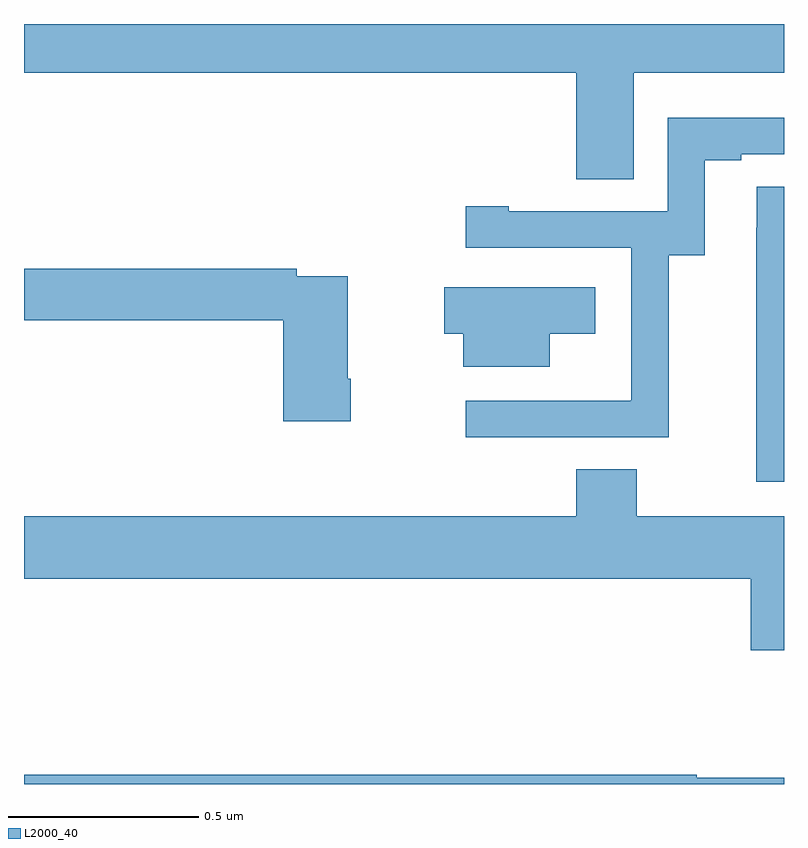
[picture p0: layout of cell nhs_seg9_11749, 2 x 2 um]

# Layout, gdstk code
import gdstk
lib = gdstk.Library(unit=1e-6, precision=1e-09)
def P(c, l, *ps):  # polygons
    for p in ps: c.add(gdstk.Polygon(p, *l))
L2000_40 = (2000, 40)

nhs_seg9_11749 = lib.new_cell('nhs_seg9_11749')
P(nhs_seg9_11749, L2000_40, [(260.605,1244.372),(261,1244.372),(261,1244.5),(259,1244.5),(259,1244.372),(260.453,1244.372),(260.453,1244.092),(260.605,1244.092)],
  [(260.697,1243.891),(260.791,1243.891),(260.791,1244.142),(260.887,1244.142),(260.887,1244.157),(261,1244.157),(261,1244.253),(260.694,1244.253),(260.694,1244.007),(260.275,1244.007),(260.275,1244.02),(260.163,1244.02),(260.163,1243.911),(260.598,1243.911),(260.598,1243.51),(260.597,1243.51),(260.597,1243.509),(260.163,1243.509),(260.163,1243.413),(260.697,1243.413)],
  [(261,1244.072),(260.928,1244.072),(260.928,1243.964),(260.927,1243.964),(260.927,1243.296),(261,1243.296)],
  [(259.86,1243.567),(259.852,1243.567),(259.852,1243.836),(259.718,1243.836),(259.718,1243.856),(259,1243.856),(259,1243.72),(259.682,1243.72),(259.682,1243.455),(259.86,1243.455)],
  [(260.383,1243.685),(260.503,1243.685),(260.503,1243.807),(260.106,1243.807),(260.106,1243.685),(260.156,1243.685),(260.156,1243.598),(260.383,1243.598)],
  [(261,1243.204),(260.613,1243.204),(260.613,1243.328),(260.453,1243.328),(260.453,1243.204),(259,1243.204),(259,1243.04),(260.912,1243.04),(260.912,1242.852),(261,1242.852)],
  [(261,1242.517),(260.77,1242.517),(260.77,1242.524),(259,1242.524),(259,1242.5),(261,1242.5)])

lib.write_gds('nhs_seg9_11749.gds')
